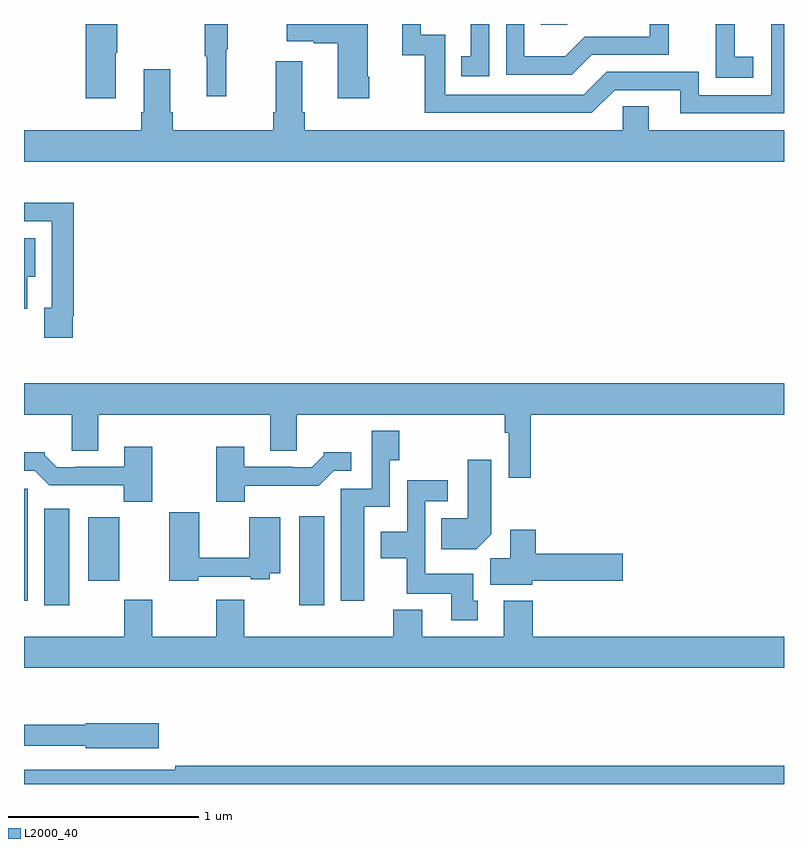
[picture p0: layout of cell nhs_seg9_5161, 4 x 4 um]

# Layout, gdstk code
import gdstk
lib = gdstk.Library(unit=1e-6, precision=1e-09)
def R(c, l, rs):  # rectangles x0, y0, x1, y1
    for r in rs: c.add(gdstk.rectangle(r[:2], r[2:], *l))
def P(c, l, *ps):  # polygons
    for p in ps: c.add(gdstk.Polygon(p, *l))
L2000_40 = (2000, 40)

nhs_seg9_5161 = lib.new_cell('nhs_seg9_5161')
R(nhs_seg9_5161, L2000_40, [(411.107,1171.44,411.238,1171.948), (412.448,1171.44,412.579,1171.909), (411,1171.464,411.019,1172.055), (413.719,1174.497,413.859,1174.5)])
P(nhs_seg9_5161, L2000_40, [(413.448,1174.5),(413.351,1174.5),(413.351,1174.329),(413.302,1174.329),(413.302,1174.224),(413.448,1174.224)],
  [(412.818,1174.222),(412.81,1174.222),(412.81,1174.5),(412.383,1174.5),(412.383,1174.409),(412.526,1174.409),(412.526,1174.399),(412.652,1174.399),(412.652,1174.11),(412.818,1174.11)],
  [(412.064,1174.368),(412.072,1174.368),(412.072,1174.5),(411.951,1174.5),(411.951,1174.331),(411.962,1174.331),(411.962,1174.119),(412.064,1174.119)],
  [(415,1174.5),(414.933,1174.5),(414.933,1174.125),(414.552,1174.125),(414.552,1174.248),(414.066,1174.248),(413.946,1174.128),(413.217,1174.128),(413.217,1174.443),(413.088,1174.443),(413.088,1174.5),(412.991,1174.5),(412.991,1174.335),(413.109,1174.335),(413.109,1174.032),(413.988,1174.032),(414.108,1174.152),(414.455,1174.152),(414.455,1174.029),(415,1174.029)],
  [(413.989,1174.338),(414.393,1174.338),(414.393,1174.5),(414.294,1174.5),(414.294,1174.434),(413.952,1174.434),(413.848,1174.33),(413.634,1174.33),(413.634,1174.5),(413.538,1174.5),(413.538,1174.233),(413.884,1174.233)],
  [(411.484,1174.348),(411.492,1174.348),(411.492,1174.5),(411.326,1174.5),(411.326,1174.11),(411.484,1174.11)],
  [(414.838,1174.327),(414.74,1174.327),(414.74,1174.5),(414.641,1174.5),(414.641,1174.423),(414.64,1174.423),(414.64,1174.217),(414.838,1174.217)],
  [(415,1173.94),(414.289,1173.94),(414.289,1174.067),(414.15,1174.067),(414.15,1173.94),(412.478,1173.94),(412.478,1174.036),(412.465,1174.036),(412.465,1174.303),(412.325,1174.303),(412.325,1174.036),(412.313,1174.036),(412.313,1173.94),(411.782,1173.94),(411.782,1174.036),(411.769,1174.036),(411.769,1174.261),(411.629,1174.261),(411.629,1174.036),(411.617,1174.036),(411.617,1173.94),(411,1173.94),(411,1173.776),(415,1173.776)],
  [(411.256,1172.962),(411.263,1172.962),(411.263,1173.56),(411,1173.56),(411,1173.462),(411.147,1173.462),(411.147,1173.006),(411.107,1173.006),(411.107,1172.85),(411.256,1172.85)],
  [(411.016,1173.17),(411.058,1173.17),(411.058,1173.373),(411,1173.373),(411,1173.002),(411.016,1173.002)],
  [(413.666,1172.444),(415,1172.444),(415,1172.608),(411,1172.608),(411,1172.444),(411.251,1172.444),(411.251,1172.254),(411.391,1172.254),(411.391,1172.444),(412.295,1172.444),(412.295,1172.254),(412.435,1172.254),(412.435,1172.444),(413.53,1172.444),(413.53,1172.348),(413.55,1172.348),(413.55,1172.112),(413.666,1172.112)],
  [(412.792,1171.958),(412.926,1171.958),(412.926,1172.203),(412.974,1172.203),(412.974,1172.359),(412.83,1172.359),(412.83,1172.055),(412.667,1172.055),(412.667,1171.464),(412.792,1171.464)],
  [(412.162,1172.07),(412.551,1172.07),(412.629,1172.148),(412.723,1172.148),(412.723,1172.245),(412.578,1172.245),(412.578,1172.23),(412.514,1172.166),(412.415,1172.166),(412.415,1172.169),(412.159,1172.169),(412.159,1172.275),(412.012,1172.275),(412.012,1171.985),(412.162,1171.985)],
  [(411.675,1172.275),(411.527,1172.275),(411.527,1172.169),(411.271,1172.169),(411.271,1172.166),(411.172,1172.166),(411.108,1172.23),(411.108,1172.245),(411,1172.245),(411,1172.148),(411.057,1172.148),(411.133,1172.072),(411.525,1172.072),(411.525,1171.985),(411.675,1171.985)],
  [(413.458,1171.814),(413.458,1172.206),(413.336,1172.206),(413.336,1171.9),(413.197,1171.9),(413.197,1171.736),(413.38,1171.736)],
  [(413.389,1171.464),(413.365,1171.464),(413.365,1171.606),(413.112,1171.606),(413.112,1171.989),(413.23,1171.989),(413.23,1172.098),(413.016,1172.098),(413.016,1171.828),(412.877,1171.828),(412.877,1171.688),(413.014,1171.688),(413.014,1171.502),(413.249,1171.502),(413.249,1171.362),(413.389,1171.362)],
  [(411.918,1171.59),(412.193,1171.59),(412.193,1171.578),(412.293,1171.578),(412.293,1171.61),(412.348,1171.61),(412.348,1171.903),(412.186,1171.903),(412.186,1171.691),(411.922,1171.691),(411.922,1171.93),(411.764,1171.93),(411.764,1171.57),(411.918,1171.57)],
  [(411.502,1171.796),(411.5,1171.796),(411.5,1171.903),(411.338,1171.903),(411.338,1171.569),(411.502,1171.569)],
  [(413.676,1171.57),(414.151,1171.57),(414.151,1171.712),(413.693,1171.712),(413.693,1171.837),(413.558,1171.837),(413.558,1171.688),(413.453,1171.688),(413.453,1171.55),(413.676,1171.55)],
  [(415,1171.276),(413.678,1171.276),(413.678,1171.465),(413.525,1171.465),(413.525,1171.276),(413.095,1171.276),(413.095,1171.417),(412.943,1171.417),(412.943,1171.276),(412.159,1171.276),(412.159,1171.471),(412.012,1171.471),(412.012,1171.276),(411.675,1171.276),(411.675,1171.471),(411.527,1171.471),(411.527,1171.276),(411,1171.276),(411,1171.112),(415,1171.112)],
  [(411.709,1170.819),(411.324,1170.819),(411.324,1170.811),(411,1170.811),(411,1170.702),(411.324,1170.702),(411.324,1170.689),(411.709,1170.689)],
  [(415,1170.596),(411.796,1170.596),(411.796,1170.576),(411,1170.576),(411,1170.5),(415,1170.5)])

lib.write_gds('nhs_seg9_5161.gds')
